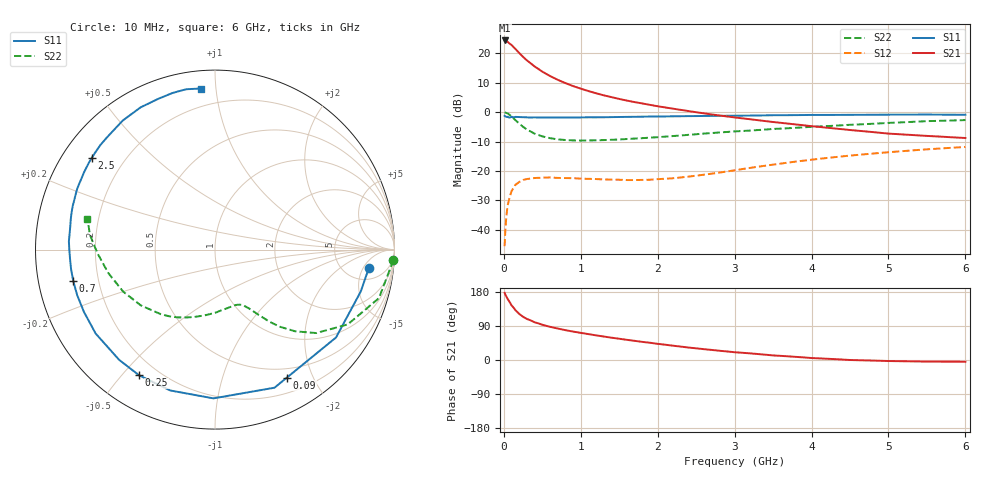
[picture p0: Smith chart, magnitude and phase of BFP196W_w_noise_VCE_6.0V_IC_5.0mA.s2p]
! (c) 2017  Infineon Technologies AG, Munich
! Infineon Technologies  Discrete & RF Semiconductors
! BFP196W
! VCE =  6.0 V,  IC =  5.0 mA
! Common Emitter S-Parameters:  Jan 2017
# GHz  S  MA  R  50
!  f  S11  S21  S12  S22
! GHz  MAG  ANG  MAG  ANG  MAG  ANG  MAG  ANG
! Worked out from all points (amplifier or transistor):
!   77 points, 10 MHz to 6 GHz, reference 50 ohm
!   highest |S21| = 24.3 dB at 10 MHz (marker M1)
!   |S21| within 3 dB of that: start of sweep to 155 MHz
!   unconditionally stable (mu >= 1): 1.571 GHz to 3.16 GHz
!   at 130 MHz: K = 0.09, MSG = 23.7 dB, |S12| = -25.5 dB
!   at 2.2 GHz: K = 1.15, MAG = 9.5 dB, |S12| = -22.5 dB
!   at 6 GHz: K = 0.91, MSG = 1.5 dB, |S12| = -11.8 dB
!   lowest NFmin = 0.90 dB at 450 MHz
!   S11 on the Smith chart (normalised r, x): 10 MHz: 8, -7; 90 MHz: 0.38, -1.64; 250 MHz: 0.13, -0.56; 700 MHz: 0.11, -0.11; 2.5 GHz: 0.09, +0.33; 6 GHz: 0.10, +0.91
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0.01  0.8636 -6.7  16.42 177.2  0.0053 84.5  0.9959 -3.4
0.02  0.8451 -16.0  16.17 172.3  0.0102 87.2  0.9801 -6.6
0.05  0.8333 -36.0  15.57 160.9  0.026 72.9  0.9527 -16.5
0.09  0.818 -60.7  14.04 147.9  0.0414 59.1  0.8659 -26.6
0.1  0.8378 -66.7  13.79 144.2  0.0455 57.2  0.8489 -29.4
0.15  0.8289 -90.6  11.81 131.6  0.0582 45.4  0.7311 -39.5
0.2  0.8235 -107.6  10.06 121.6  0.0651 37.4  0.6368 -45.6
0.25  0.818 -121.1  8.656 114.0  0.0705 31.8  0.5619 -49.9
0.3  0.814 -131.0  7.53 108.3  0.0731 27.5  0.5046 -52.9
0.4  0.8129 -144.9  5.941 99.5  0.076 21.3  0.4299 -56.7
0.5  0.8085 -154.6  4.851 93.0  0.0771 18.3  0.3868 -59.3
0.6  0.8086 -161.7  4.096 87.6  0.0777 16.3  0.3608 -61.7
0.7  0.809 -167.4  3.529 83.1  0.0763 15.0  0.3441 -63.7
0.9  0.8093 -176.2  2.762 75.0  0.0756 14.6  0.3308 -68.6
1.1  0.8154 176.8  2.273 68.3  0.0736 15.2  0.3303 -73.8
1.5  0.8249 165.8  1.67 56.1  0.0711 20.2  0.3426 -85.5
2.1  0.8436 151.5  1.197 40.3  0.0739 34.0  0.3829 -103.9
2.5  0.8557 143.3  0.995 30.8  0.0833 43.0  0.4205 -116.0
3.1  0.8695 132.3  0.783 19.1  0.1078 50.0  0.4771 -132.8
4.1  0.8939 116.2  0.56 4.3  0.1609 48.9  0.5696 -158.0
5.1  0.9043 104.2  0.424 -3.0  0.2131 41.2  0.6631 -180.0
6  0.9009 95.0  0.363 -4.6  0.2562 32.7  0.7315 166.3
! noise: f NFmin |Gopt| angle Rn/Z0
0.45  0.9  0.44  123  0.09
0.9  1.32  0.6  159  0.06
1.9  2.72  0.75  -161  0.11
2.4  3.29  0.8  -151  0.28
